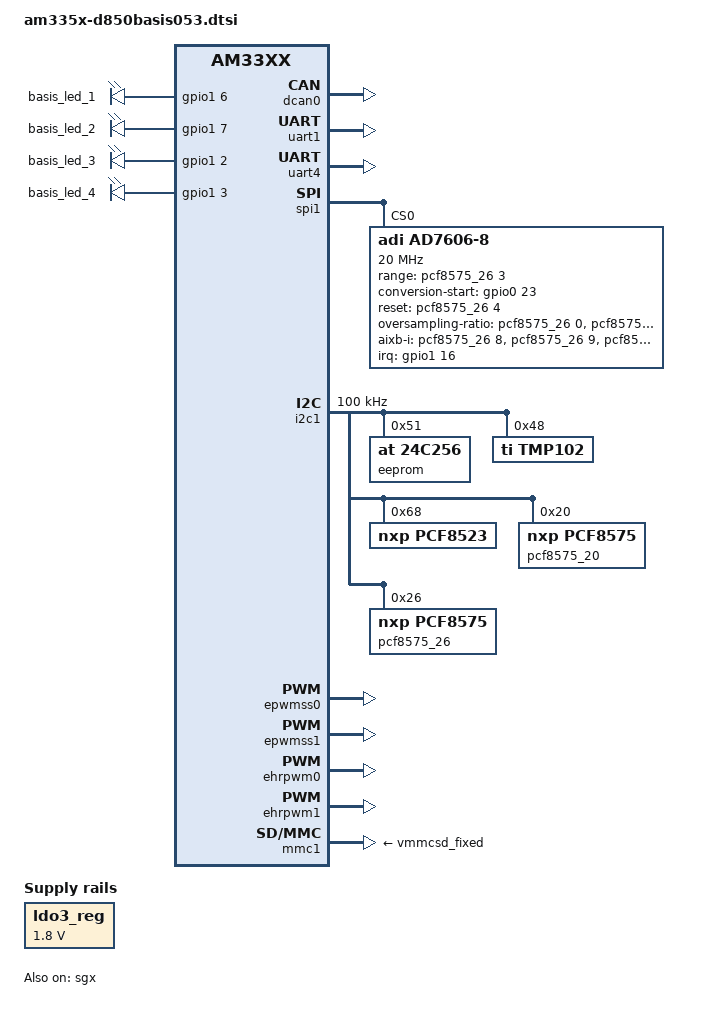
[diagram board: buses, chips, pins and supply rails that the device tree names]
/*
 * Copyright (C) 2012 Texas Instruments Incorporated - http://www.ti.com/
 *
 * This program is free software; you can redistribute it and/or modify
 * it under the terms of the GNU General Public License version 2 as
 * published by the Free Software Foundation.
 */
/dts-v1/;

#include <dt-bindings/board/am335x-bbw-bbb-base.h>
#include <dt-bindings/interrupt-controller/irq.h>
#include "am33xx.dtsi"
#include "am335x-bone-common.dtsi"

&sgx {
	status = "okay";
};

/ {
	baseboard = "D850BASIS053 v0.2";
	compatible = "ti,am335x-bone-black", "ti,am335x-bone", "ti,am33xx";

	DI_1 {
		pinctrl-names = "default";
		pinctrl-0 = <&timer7_pin>;
		timer = <&timer7>;
		compatible = "cnt-dmtimer";
		status = "okay";
	};

	DI_2 {
		pinctrl-names = "default";
		pinctrl-0 = <&timer6_pin>;
		timer = <&timer6>;
		compatible = "cnt-dmtimer";
		status = "okay";
	};

	leds {
		compatible = "gpio-leds";

		pinctrl-names = "default";
		pinctrl-0 = <&basis_led_pins>;

		/// BONE_P8_03
		basis_led_1 {
			label = "basis_led_1";
			gpios = <&gpio1 6 GPIO_ACTIVE_HIGH>;
			linux,default-trigger = "mmc0";
		};
		/// BONE_P8_04
		basis_led_2 {
			label = "basis_led_2";
			gpios = <&gpio1 7 GPIO_ACTIVE_HIGH>;
			linux,default-trigger = "heartbeat";
		};
		/// BONE_P8_05
		basis_led_3 {
			label = "basis_led_3";
			gpios = <&gpio1 2 GPIO_ACTIVE_HIGH>;
			linux,default-trigger = "heartbeat";
		};
		/// BONE_P8_06
		basis_led_4 {
			label = "basis_led_4";
			gpios = <&gpio1 3 GPIO_ACTIVE_HIGH>;
			linux,default-trigger = "heartbeat";
		};
	};
};

&cpu0_opp_table {
	/*
	 * All PG 2.0 silicon may not support 1GHz but some of the early
	 * BeagleBone Blacks have PG 2.0 silicon which is guaranteed
	 * to support 1GHz OPP so enable it for PG 2.0 on this board.
	 */
	oppnitro-1000000000 {
		opp-supported-hw = <0x06 0x0100>;
	};
};

&am33xx_pinmux {
	pinctrl-names = "default";
	pinctrl-0 = <&basis_pins &pru_bus_pins>;

	basis_pins: basis_pins {
		pinctrl-single,pins = <
			AM33XX_IOPAD(BONE_P8_07, PIN_OUTPUT | MUX_MODE7)				/* timer4.gpio2_2 DO_1 */
			AM33XX_IOPAD(BONE_P8_09, PIN_OUTPUT | MUX_MODE7)				/* timer5.gpio2_5 DO_2 */
			AM33XX_IOPAD(BONE_P8_18, PIN_INPUT | MUX_MODE7)					/* gpio2_1 IN SYNC */
			AM33XX_IOPAD(BONE_P8_23, PIN_INPUT | MUX_MODE7)					/* gpio1_4.gpio1_4 DO_3 */
			AM33XX_IOPAD(BONE_P8_25, PIN_INPUT | MUX_MODE7)					/* gpio1_0.gpio1_0 DO_4 */
			AM33XX_IOPAD(BONE_P8_33, PIN_INPUT | MUX_MODE7)					/* gpio0_9 */
			AM33XX_IOPAD(BONE_P8_35, PIN_INPUT | MUX_MODE7)					/* gpio0_8 */

			AM33XX_IOPAD(BONE_P9_12, PIN_INPUT | MUX_MODE7)					/* gpio1_28 OUT SYNC */
			AM33XX_IOPAD(BONE_P9_14, PIN_INPUT | MUX_MODE7)					/* gpio1_18 RTC IRQ */
			AM33XX_IOPAD(BONE_P9_23, PIN_INPUT | MUX_MODE7)					/* gpio1_17 HIGH -> Detec Card */
			AM33XX_IOPAD(BONE_P9_25, PIN_INPUT | MUX_MODE7)					/* gpio3_21 */
			AM33XX_IOPAD(BONE_P9_27, PIN_INPUT | MUX_MODE7)					/* gpio3_19 */

			/* P9_39 AIN0 TEMPERATUR */
			AM33XX_IOPAD(BONE_P9_41, PIN_INPUT | MUX_MODE7)					/* gpio3_20 */
			AM33XX_IOPAD(BONE_P9_42, PIN_INPUT | MUX_MODE7)					/* gpio3_18 */
		>;
	};

	pru_bus_pins: pru_bus_pins {
		pinctrl-single,pins = <
			/// TX SIDE
			AM33XX_IOPAD(BONE_P8_11, PIN_OUTPUT | MUX_MODE7)				/* gpio1_13.pr1_pru0_pru_r30_15 PRU0 TX_D1 */
			AM33XX_IOPAD(BONE_P8_12, PIN_OUTPUT | MUX_MODE7)				/* gpio1_12.pr1_pru0_pru_r30_14 PRU0 TX_D2 */
			AM33XX_IOPAD(BONE_P8_14, PIN_OUTPUT | MUX_MODE7)				/* gpio0_26 PRU0 TX_EN */
			AM33XX_IOPAD(BONE_P8_15, PIN_OUTPUT | MUX_MODE7)				/* gpio1_15.pr1_pru0_pru_r31_15 PRU0 CLK_OUT */
			AM33XX_IOPAD(BONE_P8_16, PIN_OUTPUT | MUX_MODE7)				/* gpio1_14.pr1_pru0_pru_r31_14 PRU0 TX_D0 */
			AM33XX_IOPAD(BONE_P8_17, PIN_OUTPUT | MUX_MODE7)				/* gpio0_27.gpio0_27 PRU0 TX D3 */
			AM33XX_IOPAD(BONE_P8_28, PIN_INPUT  | MUX_MODE7)				/* gpio2_24.gpio2_24 PRU0 PRU0 CTS */

			/// RX SIDE
			AM33XX_IOPAD(BONE_P8_19, PIN_INPUT | MUX_MODE7)					/* gpio0_22.gpio0_22 PRU0 TX_CLK_IN ??? */
			AM33XX_IOPAD(BONE_P8_31, PIN_INPUT | MUX_MODE7)					/* uart5.ctsn.gpio0_10 PRU0 RX_CLK */
			AM33XX_IOPAD(BONE_P8_32, PIN_INPUT | MUX_MODE7)					/* uart5.rtsn.gpio0_11 PRU0 RX DV */
			AM33XX_IOPAD(BONE_P8_34, PIN_INPUT | MUX_MODE7)					/* uart3_rtsn.gpio2_17 PRU0 RX D0 */
			AM33XX_IOPAD(BONE_P8_36, PIN_INPUT | MUX_MODE7)					/* uart3_ctsn.gpio2_16 PRU0 RX D1 */
			AM33XX_IOPAD(BONE_P8_37, PIN_INPUT | MUX_MODE7)					/* uart5_txd.gpio2_14 PRU0 RX D3 */
			AM33XX_IOPAD(BONE_P8_38, PIN_INPUT | MUX_MODE7)					/* uart5_rxd.gpio2_15 PRU0 RX D2 */
			AM33XX_IOPAD(BONE_P8_40, PIN_OUTPUT | MUX_MODE7)				/* gpio2_13.gpio2_13 PRU0 RTS */
			>;
	};

	basis_led_pins: basis_led_pins {
		pinctrl-single,pins = <
			AM33XX_IOPAD(BONE_P8_03, PIN_OUTPUT | MUX_MODE7)					/* gpmc_ad6.gpio1_6 BASIS_LED 1 */
			AM33XX_IOPAD(BONE_P8_04, PIN_OUTPUT | MUX_MODE7)					/* gpmc_ad7.gpio1_7 BASIS_LED 2 */
			AM33XX_IOPAD(BONE_P8_05, PIN_OUTPUT | MUX_MODE7)					/* gpmc.ad8.gpio1_2 BASIS_LED 3 */
			AM33XX_IOPAD(BONE_P8_06, PIN_OUTPUT | MUX_MODE7)					/* gpmc.ad9.gpio1_3 BASIS_LED 4 RED */
		>;
	};

	timer6_pin: timer6_pin {
		pinctrl-single,pins = <
			AM33XX_IOPAD(BONE_P8_10, PIN_INPUT | MUX_MODE2)					/* timer6.gpio2_4 DI_2 CHECK LATER USE */
		>;
	};

	timer7_pin: timer7_pin {
		pinctrl-single,pins = <
			AM33XX_IOPAD(BONE_P8_08, PIN_INPUT | MUX_MODE2)					/* timer7.gpio2_3 DI_1 CHECK LATER USE */
		>;
	};

	adc0_pins: adc0_pins {
		pinctrl-single,pins = <
			AM33XX_IOPAD(BONE_P9_15, PIN_INPUT | MUX_MODE7)					/* gpio1_16 ADC BASIS BUSY */
			AM33XX_IOPAD(BONE_P8_13, PIN_INPUT | MUX_MODE7)					/* gpio0_23 ADC BASIS START */
		>;
	};

	dcan0_pins: dcan0_pins {
		pinctrl-single,pins = <
			AM33XX_IOPAD(BONE_P9_19, PIN_INPUT_PULLUP | MUX_MODE2)			/* dcan0_rx HIGH */
			AM33XX_IOPAD(BONE_P9_20, PIN_OUTPUT_PULLUP | MUX_MODE2)			/* dcan0_tx LOW */
		>;
	};

	uart1_pins: uart1_pins {
		pinctrl-single,pins = <
			AM33XX_IOPAD(BONE_P9_26, PIN_INPUT_PULLUP | MUX_MODE0)			/* uart1_rxd rs485 */
			AM33XX_IOPAD(BONE_P9_24, PIN_OUTPUT_PULLDOWN | MUX_MODE0)		/* uart1_txd rs485 */
		>;
	};

	uart4_pins: uart4_pins {
		pinctrl-single,pins = <
			AM33XX_IOPAD(BONE_P9_11, PIN_INPUT_PULLUP | MUX_MODE6)			/* uart4_rxd rs232 */
			AM33XX_IOPAD(BONE_P9_13, PIN_OUTPUT_PULLDOWN | MUX_MODE6)		/* uart4_txd rs232 */
		>;
	};

	spi1_pins: spi1_pins {
		pinctrl-single,pins = <
			AM33XX_IOPAD(BONE_P9_28, PIN_OUTPUT_PULLUP | MUX_MODE3)			/* spi1_cs0 ADC BASIS CS0  */
			AM33XX_IOPAD(BONE_P9_29, PIN_INPUT_PULLUP | MUX_MODE3)			/* spi1_d0 ADC BASIS DAT OUT */
			AM33XX_IOPAD(BONE_P9_30, PIN_INPUT_PULLUP | MUX_MODE7)			/* spi1_d1.noch_gpio ?? */
			AM33XX_IOPAD(BONE_P9_31, PIN_INPUT_PULLUP | MUX_MODE3)			/* spi1_sclk ADC BASIS CLK */
		>;
	};

	i2c1_pins: i2c1_pins {
		pinctrl-single,pins = <
			AM33XX_IOPAD(BONE_P9_17, SLEWCTRL_SLOW | PIN_INPUT_PULLUP | MUX_MODE2)	/* i2c1_scl */
			AM33XX_IOPAD(BONE_P9_18, SLEWCTRL_SLOW | PIN_INPUT_PULLUP | MUX_MODE2)	/* i2c1_sda */
		>;
	};

	ehrpwm0_pins_default: ehrpwm0_pins_default {
		pinctrl-single,pins = <
			AM33XX_IOPAD(BONE_P9_21, PIN_INPUT | MUX_MODE3)					/* ehrpwm0B */
			AM33XX_IOPAD(BONE_P9_22, PIN_INPUT | MUX_MODE3)					/* ehrpwm0A */
		>;
	};

	ehrpwm1_pins_default: ehrpwm1_pins_default {
		pinctrl-single,pins = <
			AM33XX_IOPAD(BONE_P9_16, PIN_INPUT | MUX_MODE6)					/* EHRPWM1B  */
		>;
	};
};


&dcan0 {
	status = "okay";
	pinctrl-names = "default";
	pinctrl-0 = <&dcan0_pins>;
};

&uart1 {
	status = "okay";
	pinctrl-names = "default";
	pinctrl-0 = <&uart1_pins>;
};

&uart4 {
	status = "okay";
	pinctrl-names = "default";
	pinctrl-0 = <&uart4_pins>;
};

&spi1 {
	status = "okay";
	pinctrl-names = "default";
	pinctrl-0 = <&spi1_pins>;

	/* spi-cpha; sets CPHA=1, default is CPHA=0 */
	/* spi-cpol; sets CPOL=1, default is CPOL=0 */
	/* spi-cs-high; default is spi cs low */

	ad7606-8 {
		compatible = "adi,ad7606-8";
		pinctrl-0 = <&adc0_pins>;
		interrupt-parent = <&gpio1>;
		interrupts = <16 IRQ_TYPE_EDGE_FALLING>;

		reg = <0>;
		/*** 16Mhz ??? divisor problem ? */
		spi-max-frequency = <20000000>;
		spi-cpol;

		adi,range-gpios = <&pcf8575_26 3 GPIO_ACTIVE_HIGH>;
		adi,conversion-start-gpios = <&gpio0 23 GPIO_ACTIVE_HIGH>;
		reset-gpios = <&pcf8575_26 4 GPIO_ACTIVE_HIGH>;
		adi,oversampling-ratio-gpios = <&pcf8575_26 0 GPIO_ACTIVE_HIGH
						&pcf8575_26 1 GPIO_ACTIVE_HIGH
						&pcf8575_26 2 GPIO_ACTIVE_HIGH>;

		adi,aixb-i-gpios = <&pcf8575_26 8 GPIO_ACTIVE_HIGH
						&pcf8575_26 9 GPIO_ACTIVE_HIGH
						&pcf8575_26 10 GPIO_ACTIVE_HIGH
						&pcf8575_26 11 GPIO_ACTIVE_HIGH
						&pcf8575_26 12 GPIO_ACTIVE_HIGH
						&pcf8575_26 13 GPIO_ACTIVE_HIGH
						&pcf8575_26 14 GPIO_ACTIVE_HIGH
						&pcf8575_26 15 GPIO_ACTIVE_HIGH>;
	};
};

&i2c1 {
	status = "okay";
	pinctrl-names = "default";
	pinctrl-0 = <&i2c1_pins>;
	clock-frequency = <100000>;

	eeprom@51 {
		compatible = "at,24c256";
		reg = <0x51>;
	};

	tmp102@48 {
		compatible = "ti,tmp102";
		reg = <0x48>;
	};

	pcf8523: pcf8523@68 {
		compatible = "nxp,pcf8523";
		reg = <0x68>;
		#clock-cells = <0>;
	};

	pcf8575_20: gpio@20 {
		compatible = "nxp,pcf8575";
		reg = <0x20>;
		gpio-controller;
		#gpio-cells = <2>;
		lines-initial-states = <0xF100>;
		gpio-line-names = "BASIS_ID_0", "BASIS_ID_1", "BASIS_ID_2", "BASIS_ID_3",
						  "BASIS_VAR_0", "BASIS_VAR_1", "BASIS_VAR_2", "BASIS_VAR_3",
						  "RS485_EN", "", "", "", "DI_1", "DI_2", "DI_3", "DI_4";
	};

	pcf8575_26: gpio@26 {
		compatible = "nxp,pcf8575";
		reg = <0x26>;
		gpio-controller;
		#gpio-cells = <2>;
		lines-initial-states = <0xFF1F>;
		gpio-line-names = "OS_0", "OS_1", "OS_2", "RANGE", "AD_RES", "", "", "",
						  "AI1B", "AI2B", "AI3B", "AI4B", "AI5B", "AI6B", "AI7B", "AI8B";
	};
};

&pru0 {
	firmware-name = "pru/d850-pru-bus.out";
};

&epwmss0 {
	status = "okay";
};

&epwmss1 {
	status = "okay";
};

&ehrpwm0 {
	pinctrl-names = "default";
	pinctrl-0 = <&ehrpwm0_pins_default>;
	status = "okay";
};

&ehrpwm1 {
	pinctrl-names = "default";
	pinctrl-0 = <&ehrpwm1_pins_default>;
	status = "okay";
};

&mcasp0	{
	status = "disabled";
};

&i2c2 {
	status = "disabled";
};

&ldo3_reg {
	regulator-min-microvolt = <1800000>;
	regulator-max-microvolt = <1800000>;
	regulator-always-on;
};

&mmc1 {
	vmmc-supply = <&vmmcsd_fixed>;
};

&mmc2 {
	vmmc-supply = <&vmmcsd_fixed>;
	pinctrl-names = "default";
	pinctrl-0 = <&emmc_pins>;
	bus-width = <8>;
	status = "disabled";
};
